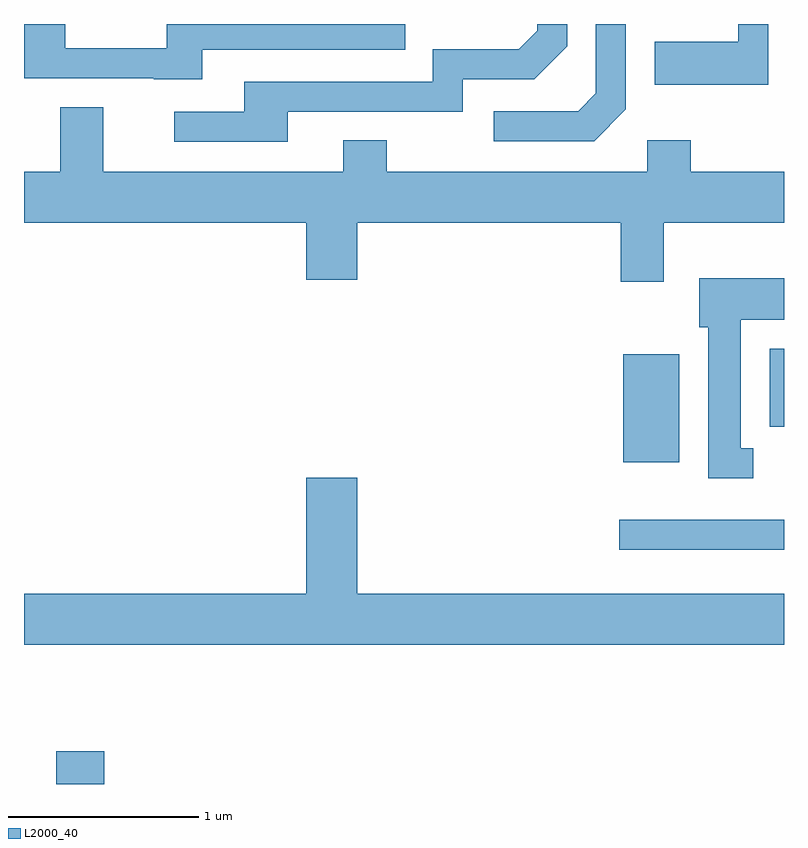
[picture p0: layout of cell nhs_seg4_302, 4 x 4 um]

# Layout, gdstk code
import gdstk
lib = gdstk.Library(unit=1e-6, precision=1e-09)
def R(c, l, rs):  # rectangles x0, y0, x1, y1
    for r in rs: c.add(gdstk.rectangle(r[:2], r[2:], *l))
def P(c, l, *ps):  # polygons
    for p in ps: c.add(gdstk.Polygon(p, *l))
L2000_40 = (2000, 40)

nhs_seg4_302 = lib.new_cell('nhs_seg4_302')
R(nhs_seg4_302, L2000_40, [(193.781,1313.982,194.034,1314.154), (196.743,1315.216,197.611,1315.374), (196.766,1315.676,197.059,1316.244), (197.536,1315.861,197.611,1316.274)])
P(nhs_seg4_302, L2000_40, [(197.529,1317.982),(197.371,1317.982),(197.371,1317.889),(196.931,1317.889),(196.931,1317.661),(197.529,1317.661)],
  [(194.549,1317.846),(195.618,1317.846),(195.618,1317.982),(194.361,1317.982),(194.361,1317.854),(193.829,1317.854),(193.829,1317.982),(193.611,1317.982),(193.611,1317.696),(194.295,1317.696),(194.295,1317.691),(194.549,1317.691)],
  [(196.779,1317.534),(196.779,1317.982),(196.621,1317.982),(196.621,1317.617),(196.529,1317.524),(196.083,1317.524),(196.083,1317.366),(196.612,1317.366)],
  [(194.999,1317.521),(195.919,1317.521),(195.919,1317.691),(196.297,1317.691),(196.469,1317.864),(196.469,1317.982),(196.311,1317.982),(196.311,1317.947),(196.214,1317.849),(195.761,1317.849),(195.761,1317.679),(194.771,1317.679),(194.771,1317.519),(194.403,1317.519),(194.403,1317.361),(194.999,1317.361)],
  [(196.979,1316.936),(197.611,1316.936),(197.611,1317.204),(197.119,1317.204),(197.119,1317.369),(196.891,1317.369),(196.891,1317.204),(195.519,1317.204),(195.519,1317.369),(195.291,1317.369),(195.291,1317.204),(194.029,1317.204),(194.029,1317.544),(193.801,1317.544),(193.801,1317.204),(193.611,1317.204),(193.611,1316.936),(195.096,1316.936),(195.096,1316.636),(195.364,1316.636),(195.364,1316.936),(196.751,1316.936),(196.751,1316.626),(196.979,1316.626)],
  [(197.448,1315.749),(197.384,1315.749),(197.384,1316.426),(197.611,1316.426),(197.611,1316.644),(197.166,1316.644),(197.166,1316.386),(197.211,1316.386),(197.211,1315.591),(197.448,1315.591)],
  [(197.611,1314.984),(195.364,1314.984),(195.364,1315.594),(195.096,1315.594),(195.096,1314.984),(193.611,1314.984),(193.611,1314.716),(197.611,1314.716)])

lib.write_gds('nhs_seg4_302.gds')
